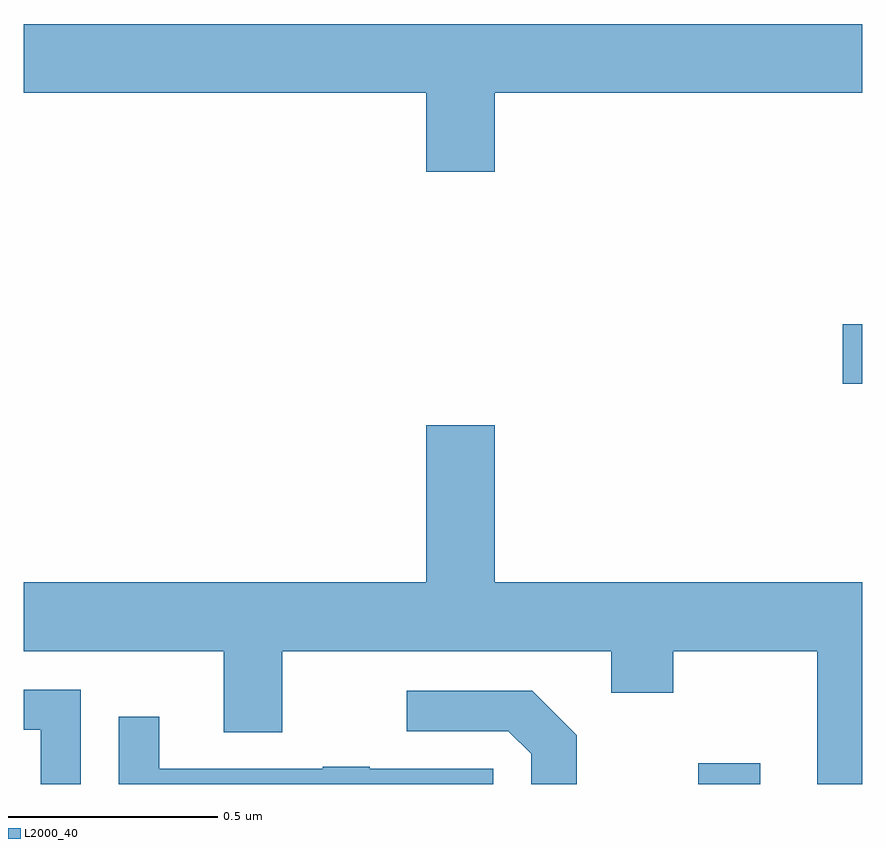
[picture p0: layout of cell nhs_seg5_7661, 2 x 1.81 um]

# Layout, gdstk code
import gdstk
lib = gdstk.Library(unit=1e-6, precision=1e-09)
def R(c, l, rs):  # rectangles x0, y0, x1, y1
    for r in rs: c.add(gdstk.rectangle(r[:2], r[2:], *l))
def P(c, l, *ps):  # polygons
    for p in ps: c.add(gdstk.Polygon(p, *l))
L2000_40 = (2000, 40)

nhs_seg5_7661 = lib.new_cell('nhs_seg5_7661')
R(nhs_seg5_7661, L2000_40, [(213.609,833.799,213.757,833.848), (213.954,834.754,214,834.896)])
P(nhs_seg5_7661, L2000_40, [(213.124,835.448),(214,835.448),(214,835.612),(212,835.612),(212,835.448),(212.96,835.448),(212.96,835.26),(213.124,835.26)],
  [(214,834.28),(213.124,834.28),(213.124,834.655),(212.96,834.655),(212.96,834.28),(212,834.28),(212,834.116),(212.477,834.116),(212.477,833.922),(212.617,833.922),(212.617,834.116),(213.401,834.116),(213.401,834.017),(213.549,834.017),(213.549,834.116),(213.893,834.116),(213.893,833.799),(214,833.799)],
  [(212.136,834.024),(212,834.024),(212,833.928),(212.04,833.928),(212.04,833.799),(212.136,833.799)],
  [(213.319,833.915),(213.213,834.021),(212.913,834.021),(212.913,833.925),(213.156,833.925),(213.21,833.871),(213.21,833.799),(213.319,833.799)],
  [(213.12,833.835),(212.825,833.835),(212.825,833.84),(212.713,833.84),(212.713,833.835),(212.323,833.835),(212.323,833.959),(212.227,833.959),(212.227,833.799),(213.12,833.799)])

lib.write_gds('nhs_seg5_7661.gds')
